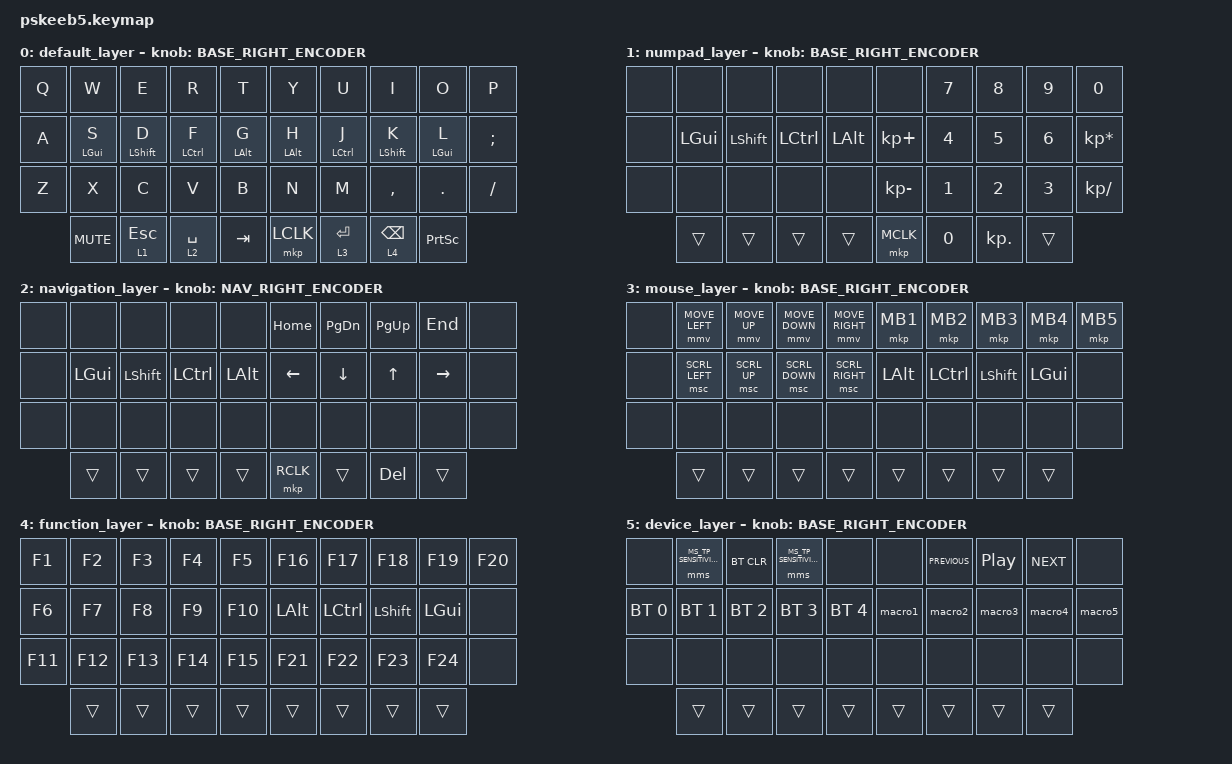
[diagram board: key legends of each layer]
// Copyright (c) 2022 The ZMK Contributors
// SPDX-License-Identifier: MIT

#include <behaviors.dtsi>
#include <dt-bindings/zmk/keys.h>
#include <dt-bindings/zmk/mouse.h>
#include <dt-bindings/zmk/bt.h>
#include <behaviors/mouse_setting.dtsi>
#include <dt-bindings/zmk/mouse_settings.h>

/ {
    mouse_ps2_input_listener {
        // keymap overlay 加载晚于 shield overlay，这里确保最终滚动层是第 2 层。
        scroll-layer = <2>;
    };
};

// 小红点灵敏度
#define U_MSS_TP_S_I &mms MS_TP_SENSITIVITY_INCR
#define U_MSS_TP_S_D &mms MS_TP_SENSITIVITY_DECR

// 默认层左旋钮：音量
#define BASE_LEFT_ENCODER &inc_dec_kp C_VOL_DN C_VOL_UP

// 鼠标层左旋钮：亮度
#define SYMBOL_LEFT_ENCODER &inc_dec_kp C_BRI_DN C_BRI_UP

// 默认层右旋钮：左右方向
#define BASE_RIGHT_ENCODER &inc_dec_kp LEFT RIGHT

// 导航层右旋钮：上下方向
#define NAV_RIGHT_ENCODER &inc_dec_kp DOWN UP

/ {
    behaviors {
        // 点按出键，长按出修饰键
        ht: hold_tap {
            display-name = "Hold Tap";
            label = "hold_tap";
            compatible = "zmk,behavior-hold-tap";
            #binding-cells = <2>;
            flavor = "balanced";
            tapping-term-ms = <220>;
            quick-tap-ms = <200>;
            bindings = <&kp>, <&kp>;
        };

        // 点按出键，长按切层
        lt: layer_tap {
            display-name = "Layer Tap";
            compatible = "zmk,behavior-hold-tap";
            label = "LAYER_TAP";
            #binding-cells = <2>;
            tapping-term-ms = <200>;
            quick-tap-ms = <200>;
            bindings = <&mo>, <&kp>;
        };

        // 编码器滚轮模板
        inc_dec_msc: sensor_rotate_msc {
            compatible = "zmk,behavior-sensor-rotate-var";
            #sensor-binding-cells = <2>;
            bindings = <&msc>, <&msc>;
            tap-ms = <20>;
        };
    };

    macros {
        // 仅为占位字符；如需替换为敏感信息，请只在本地编译，切勿推送云端。
        ZMK_MACRO(macro1,
            bindings = <&kp A &kp B &kp C &kp N1 &kp N1 &kp N1>;
        )

        ZMK_MACRO(macro2,
            bindings = <&kp A &kp B &kp C &kp N2 &kp N2 &kp N2>;
        )

        ZMK_MACRO(macro3,
            bindings = <&kp A &kp B &kp C &kp N3 &kp N3 &kp N3>;
        )

        ZMK_MACRO(macro4,
            bindings = <&kp A &kp B &kp C &kp N4 &kp N4 &kp N4>;
        )

        ZMK_MACRO(macro5,
            bindings = <&kp A &kp B &kp C &kp N5 &kp N5 &kp N5>;
        )
    };

    combos {
        compatible = "zmk,combos";

        // W + S -> `
        combo_grave {
            timeout-ms = <50>;
            layers = <0>;
            key-positions = <1 11>;
            bindings = <&kp GRAVE>;
        };

        // E + D -> -
        combo_minus {
            timeout-ms = <50>;
            layers = <0>;
            key-positions = <2 12>;
            bindings = <&kp MINUS>;
        };

        // R + F -> =
        combo_equal {
            timeout-ms = <50>;
            layers = <0>;
            key-positions = <3 13>;
            bindings = <&kp EQUAL>;
        };

        // Y + H -> '
        combo_quote {
            timeout-ms = <50>;
            layers = <0>;
            key-positions = <5 15>;
            bindings = <&kp SQT>;
        };

        // U + J -> [
        combo_left_bracket {
            timeout-ms = <50>;
            layers = <0>;
            key-positions = <6 16>;
            bindings = <&kp LBKT>;
        };

        // I + K -> ]
        combo_right_bracket {
            timeout-ms = <50>;
            layers = <0>;
            key-positions = <7 17>;
            bindings = <&kp RBKT>;
        };

        // O + L -> backslash
        combo_backslash {
            timeout-ms = <50>;
            layers = <0>;
            key-positions = <8 18>;
            bindings = <&kp BSLH>;
        };

        // F + J -> F20
        combo_f20 {
            timeout-ms = <50>;
            layers = <0>;
            key-positions = <13 16>;
            bindings = <&kp F20>;
        };

        // D + K -> Ctrl + Space
        combo_ctrl_space {
            timeout-ms = <50>;
            layers = <0>;
            key-positions = <12 17>;
            bindings = <&kp LC(SPACE)>;
        };

        // S + L -> Gui + Space
        combo_gui_space {
            timeout-ms = <50>;
            layers = <0>;
            key-positions = <11 18>;
            bindings = <&kp LG(SPACE)>;
        };

    };

    conditional_layers {
        compatible = "zmk,conditional-layers";

        // 2 + 3 -> 5
        device_layer {
            if-layers = <2 3>;
            then-layer = <5>;
        };
    };

    keymap {
        compatible = "zmk,keymap";

        default_layer {
            bindings = <
                &kp Q        &kp W        &kp E        &kp R        &kp T        &kp Y       &kp U        &kp I        &kp O       &kp P
                &kp A        &ht LGUI S   &ht LSHFT D  &ht LCTRL F  &ht LALT G   &ht LALT H  &ht LCTRL J  &ht LSHFT K  &ht LGUI L  &kp SEMI
                &kp Z        &kp X        &kp C        &kp V        &kp B        &kp N       &kp M        &kp COMMA    &kp DOT     &kp FSLH
                             &kp C_MUTE   &lt 1 ESC    &lt 2 SPACE  &kp TAB      &mkp LCLK   &lt 3 ENTER  &lt 4 BSPC   &kp PSCRN
            >;
            sensor-bindings = <BASE_LEFT_ENCODER BASE_RIGHT_ENCODER>;
        };

        numpad_layer {
            bindings = <
                &none       &none     &none     &none      &none      &none         &kp N7      &kp N8      &kp N9      &kp N0
                &none       &kp LGUI  &kp LSHFT &kp LCTRL  &kp LALT   &kp KP_PLUS   &kp N4      &kp N5      &kp N6      &kp KP_MULTIPLY
                &none       &none     &none     &none      &none      &kp KP_MINUS  &kp N1      &kp N2      &kp N3      &kp KP_DIVIDE
                            &trans    &trans    &trans     &trans     &mkp MCLK     &kp N0      &kp KP_DOT  &trans
            >;
            sensor-bindings = <BASE_LEFT_ENCODER BASE_RIGHT_ENCODER>;
        };

        navigation_layer {
            bindings = <
                &none       &none     &none     &none      &none     &kp HOME   &kp PG_DN  &kp PG_UP  &kp END    &none
                &none       &kp LGUI  &kp LSHFT &kp LCTRL  &kp LALT  &kp LEFT   &kp DOWN   &kp UP     &kp RIGHT  &none
                &none       &none     &none     &none      &none     &none      &none      &none      &none      &none
                            &trans    &trans    &trans     &trans    &mkp RCLK  &trans     &kp DEL    &trans
            >;
            sensor-bindings = <BASE_LEFT_ENCODER NAV_RIGHT_ENCODER>;
        };

        mouse_layer {
            bindings = <
                &none       &mmv MOVE_LEFT &mmv MOVE_UP   &mmv MOVE_DOWN  &mmv MOVE_RIGHT  &mkp MB1  &mkp MB2  &mkp MB3   &mkp MB4  &mkp MB5
                &none       &msc SCRL_LEFT &msc SCRL_UP   &msc SCRL_DOWN  &msc SCRL_RIGHT  &kp LALT  &kp LCTRL &kp LSHFT  &kp LGUI  &none
                &none       &none          &none          &none           &none            &none     &none     &none      &none     &none
                            &trans         &trans         &trans          &trans           &trans    &trans    &trans     &trans
            >;
            sensor-bindings = <SYMBOL_LEFT_ENCODER BASE_RIGHT_ENCODER>;
        };

        function_layer {
            bindings = <
                &kp F1      &kp F2   &kp F3   &kp F4   &kp F5   &kp F16   &kp F17   &kp F18   &kp F19   &kp F20
                &kp F6      &kp F7   &kp F8   &kp F9   &kp F10  &kp LALT  &kp LCTRL &kp LSHFT &kp LGUI  &none
                &kp F11     &kp F12  &kp F13  &kp F14  &kp F15  &kp F21   &kp F22   &kp F23   &kp F24   &none
                            &trans   &trans   &trans   &trans   &trans    &trans    &trans    &trans
            >;
            sensor-bindings = <BASE_LEFT_ENCODER BASE_RIGHT_ENCODER>;
        };

        device_layer {
            bindings = <
                &none        U_MSS_TP_S_D &bt BT_CLR   U_MSS_TP_S_I &none        &none        &kp C_PREVIOUS &kp C_PLAY_PAUSE &kp C_NEXT   &none
                &bt BT_SEL 0 &bt BT_SEL 1 &bt BT_SEL 2 &bt BT_SEL 3 &bt BT_SEL 4 &macro1     &macro2        &macro3          &macro4      &macro5
                &none        &none        &none        &none        &none        &none        &none          &none            &none        &none
                             &trans       &trans       &trans       &trans       &trans       &trans         &trans           &trans
            >;
            sensor-bindings = <BASE_LEFT_ENCODER BASE_RIGHT_ENCODER>;
        };
    };
};
